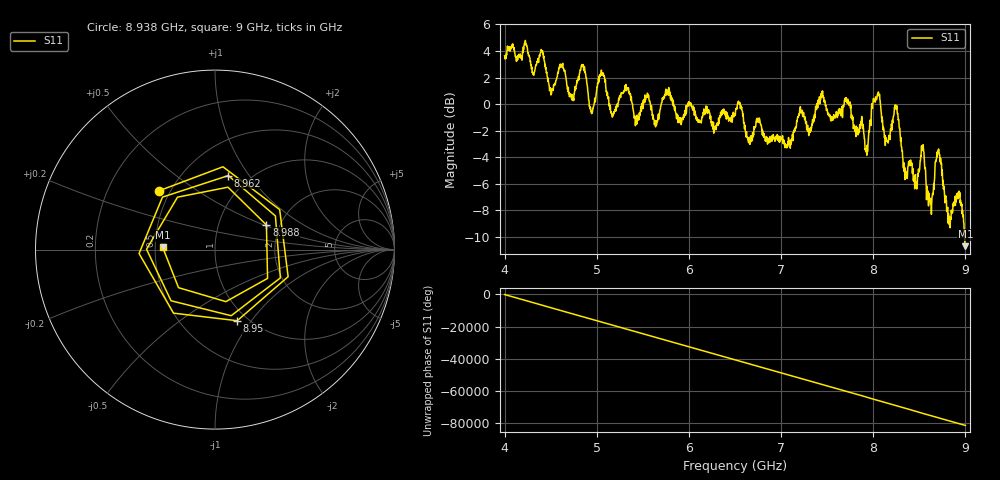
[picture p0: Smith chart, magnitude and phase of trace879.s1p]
! Created with skrf 1.8.0 (http://scikit-rf.org).
# Hz S RI R 50.0
!freq ReS11 ImS11
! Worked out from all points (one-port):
!   1601 points, 4 GHz to 9 GHz, reference 50 ohm
!   lowest |S11| = -10.7 dB at 9 GHz (marker M1), VSWR 1.82, Z = 27.4 + j0.732 ohm
!   |S11| at or under -10 dB: 8.99236 GHz to end of sweep
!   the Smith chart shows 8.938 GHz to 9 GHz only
!   S11 on the Smith chart (normalised r, x): 8.938 GHz: 0.43, +0.36; 8.95 GHz: 0.89, -0.86; 8.962 GHz: 0.80, +0.80; 8.988 GHz: 1.70, +0.52; 9 GHz: 0.55, +0.01
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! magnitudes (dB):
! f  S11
! 4 GHz  3.6
! 4.403 GHz  4.0
! 4.506 GHz  0.9
! 4.625 GHz  2.9
! 4.728 GHz  0.4
! 4.856 GHz  2.8
! 4.944 GHz  -0.7
! 5.05 GHz  2.6
! 5.25 GHz  0.5
! 5.875 GHz  -1.0
! 6.5 GHz  -0.7
! 7.125 GHz  -2.4
! 7.438 GHz  0.5
! 7.75 GHz  -0.1
! 7.925 GHz  -3.6
! 8.034 GHz  0.3
! 8.144 GHz  -2.8
! 8.25 GHz  -0.1
! 8.375 GHz  -4.8
! 8.538 GHz  -3.5
! 8.622 GHz  -7.5
! 8.709 GHz  -3.4
! 8.822 GHz  -8.4
! 8.938 GHz  -6.9
! 8.95 GHz  -7.6
! 8.962 GHz  -7.6
! 8.988 GHz  -10.0
! 9 GHz  -10.7
